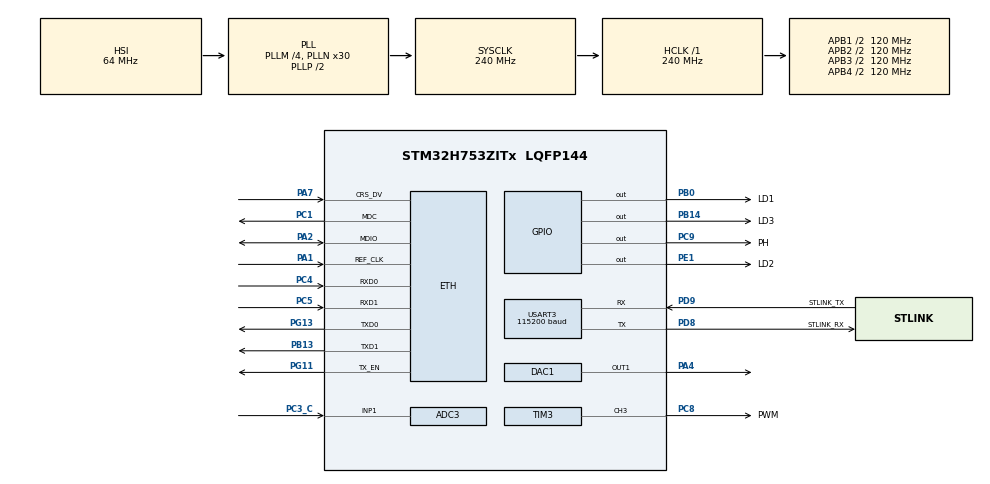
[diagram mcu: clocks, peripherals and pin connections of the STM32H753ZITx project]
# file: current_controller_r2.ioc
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ADC3.Channel-0\#ChannelRegularConversion=ADC_CHANNEL_1
ADC3.ContinuousConvMode=DISABLE
ADC3.EOCSelection=ADC_EOC_SEQ_CONV
ADC3.ExternalTrigConv=ADC_EXTERNALTRIG_T3_TRGO
ADC3.NbrOfConversion=1
ADC3.NbrOfConversionFlag=1
ADC3.OffsetNumber-0\#ChannelRegularConversion=ADC_OFFSET_NONE
ADC3.OffsetSignedSaturation-0\#ChannelRegularConversion=DISABLE
ADC3.OversamplingMode=ENABLE
ADC3.Rank-0\#ChannelRegularConversion=1
ADC3.Ratio=256
ADC3.RightBitShift=ADC_RIGHTBITSHIFT_8
ADC3.SamplingTime-0\#ChannelRegularConversion=ADC_SAMPLETIME_1CYCLE_5
CORTEX_M7.AccessPermission_S-Cortex_Memory_Protection_Unit_Region1_Settings_S=MPU_REGION_FULL_ACCESS
CORTEX_M7.AccessPermission_S-Cortex_Memory_Protection_Unit_Region2_Settings_S=MPU_REGION_FULL_ACCESS
CORTEX_M7.AccessPermission_Spec=MPU_REGION_NO_ACCESS
CORTEX_M7.BaseAddress_S-Cortex_Memory_Protection_Unit_Region1_Settings_S=0x30020000
CORTEX_M7.BaseAddress_S-Cortex_Memory_Protection_Unit_Region2_Settings_S=0x30040000
CORTEX_M7.BaseAddress_Spec=0x0
CORTEX_M7.CPU_DCache=Enabled
CORTEX_M7.CPU_ICache=Enabled
CORTEX_M7.DisableExec_S-Cortex_Memory_Protection_Unit_Region1_Settings_S=MPU_INSTRUCTION_ACCESS_DISABLE
CORTEX_M7.DisableExec_S-Cortex_Memory_Protection_Unit_Region2_Settings_S=MPU_INSTRUCTION_ACCESS_DISABLE
CORTEX_M7.DisableExec_Spec=MPU_INSTRUCTION_ACCESS_DISABLE
CORTEX_M7.Enable_S-Cortex_Memory_Protection_Unit_Region10_Settings_S=__NULL
CORTEX_M7.Enable_S-Cortex_Memory_Protection_Unit_Region11_Settings_S=__NULL
CORTEX_M7.Enable_S-Cortex_Memory_Protection_Unit_Region12_Settings_S=__NULL
CORTEX_M7.Enable_S-Cortex_Memory_Protection_Unit_Region13_Settings_S=__NULL
CORTEX_M7.Enable_S-Cortex_Memory_Protection_Unit_Region14_Settings_S=__NULL
CORTEX_M7.Enable_S-Cortex_Memory_Protection_Unit_Region15_Settings_S=__NULL
CORTEX_M7.Enable_S-Cortex_Memory_Protection_Unit_Region1_Settings_S=MPU_REGION_ENABLE
CORTEX_M7.Enable_S-Cortex_Memory_Protection_Unit_Region2_Settings_S=MPU_REGION_ENABLE
CORTEX_M7.Enable_S-Cortex_Memory_Protection_Unit_Region3_Settings_S=__NULL
CORTEX_M7.Enable_S-Cortex_Memory_Protection_Unit_Region4_Settings_S=__NULL
CORTEX_M7.Enable_S-Cortex_Memory_Protection_Unit_Region5_Settings_S=__NULL
CORTEX_M7.Enable_S-Cortex_Memory_Protection_Unit_Region6_Settings_S=__NULL
CORTEX_M7.Enable_S-Cortex_Memory_Protection_Unit_Region7_Settings_S=__NULL
CORTEX_M7.Enable_S-Cortex_Memory_Protection_Unit_Region8_Settings_S=__NULL
CORTEX_M7.Enable_S-Cortex_Memory_Protection_Unit_Region9_Settings_S=__NULL
CORTEX_M7.Enable_Spec=MPU_REGION_ENABLE
CORTEX_M7.IsBufferable_S-Cortex_Memory_Protection_Unit_Region1_Settings_S=MPU_ACCESS_NOT_BUFFERABLE
CORTEX_M7.IsBufferable_S-Cortex_Memory_Protection_Unit_Region2_Settings_S=MPU_ACCESS_BUFFERABLE
CORTEX_M7.IsBufferable_Spec=MPU_ACCESS_NOT_BUFFERABLE
CORTEX_M7.IsCacheable_S-Cortex_Memory_Protection_Unit_Region1_Settings_S=MPU_ACCESS_NOT_CACHEABLE
CORTEX_M7.IsCacheable_S-Cortex_Memory_Protection_Unit_Region2_Settings_S=MPU_ACCESS_NOT_CACHEABLE
CORTEX_M7.IsCacheable_Spec=MPU_ACCESS_NOT_CACHEABLE
CORTEX_M7.IsShareable_S-Cortex_Memory_Protection_Unit_Region1_Settings_S=MPU_ACCESS_NOT_SHAREABLE
CORTEX_M7.IsShareable_S-Cortex_Memory_Protection_Unit_Region2_Settings_S=MPU_ACCESS_SHAREABLE
CORTEX_M7.IsShareable_Spec=MPU_ACCESS_SHAREABLE
CORTEX_M7.MPU_Control=MPU_PRIVILEGED_DEFAULT
CORTEX_M7.Size_S-Cortex_Memory_Protection_Unit_Region1_Settings_S=MPU_REGION_SIZE_128KB
CORTEX_M7.Size_S-Cortex_Memory_Protection_Unit_Region2_Settings_S=MPU_REGION_SIZE_512B
CORTEX_M7.Size_Spec=MPU_REGION_SIZE_4GB
CORTEX_M7.SubRegionDisable_S-Cortex_Memory_Protection_Unit_Region1_Settings_S=0x0
CORTEX_M7.SubRegionDisable_S-Cortex_Memory_Protection_Unit_Region2_Settings_S=0x0
CORTEX_M7.SubRegionDisable_Spec=0x87
CORTEX_M7.TypeExtField_S-Cortex_Memory_Protection_Unit_Region1_Settings_S=MPU_TEX_LEVEL1
CORTEX_M7.TypeExtField_S-Cortex_Memory_Protection_Unit_Region2_Settings_S=MPU_TEX_LEVEL0
CORTEX_M7.TypeExtField_Spec=MPU_TEX_LEVEL0
CORTEX_M7.default_mode_Activation=1
DAC1.DAC_Channel-DAC_OUT1=DAC_CHANNEL_1
ETH.ETH_RX_DESC_CNT=4
ETH.ETH_TX_DESC_CNT=4
ETH.MACAddr=00\:80\:E1\:00\:00\:00
ETH.MediaInterface=HAL_ETH_RMII_MODE
ETH.RxBuffLen=1536
ETH.RxBufferAddress=0x30040200
ETH.RxDescAddress=0x30040000
ETH.TxDescAddress=0x30040060
LWIP.API_LIB_DEBUG=LWIP_DBG_OFF
LWIP.API_MSG_DEBUG=LWIP_DBG_OFF
LWIP.ARP_MAXAGE=300
LWIP.ARP_QUEUEING=0
LWIP.ARP_QUEUE_LEN=3
LWIP.ARP_TABLE_SIZE=10
LWIP.AUTOIP_DEBUG=LWIP_DBG_OFF
LWIP.BSP.number=1
LWIP.CBCP_SUPPORT=0
LWIP.CCP_SUPPORT=0
LWIP.CHAP_DEFTIMEOUT=6
LWIP.CHAP_DEFTRANSMITS=10
LWIP.CHAP_SUPPORT=0
LWIP.CHECKSUM_BY_HARDWARE=1
LWIP.CHECKSUM_CHECK_ICMP=1
LWIP.CHECKSUM_CHECK_ICMP6=0
LWIP.CHECKSUM_CHECK_IP=0
LWIP.CHECKSUM_CHECK_TCP=0
LWIP.CHECKSUM_CHECK_UDP=0
LWIP.CHECKSUM_GEN_ICMP=1
LWIP.CHECKSUM_GEN_ICMP6=0
LWIP.CHECKSUM_GEN_IP=0
LWIP.CHECKSUM_GEN_TCP=0
LWIP.CHECKSUM_GEN_UDP=0
LWIP.CMSIS_VERSION-Enabled=1
LWIP.DEFAULT_ACCEPTMBOX_SIZE=6
LWIP.DEFAULT_RAW_RECVMBOX_SIZE=0
LWIP.DEFAULT_TCP_RECVMBOX_SIZE=6
LWIP.DEFAULT_THREAD_NAME="lwIP"
LWIP.DEFAULT_THREAD_PRIO=3
LWIP.DEFAULT_THREAD_STACKSIZE=1024
LWIP.DEFAULT_UDP_RECVMBOX_SIZE=6
LWIP.DEMAND_SUPPORT=0
LWIP.DHCP6_DEBUG=LWIP_DBG_OFF
LWIP.DHCP_DEBUG=LWIP_DBG_OFF
LWIP.DHCP_DOES_ARP_CHECK=1
LWIP.DNS_DEBUG=LWIP_DBG_OFF
LWIP.DNS_DOES_NAME_CHECK=1
LWIP.DNS_LOCAL_HOSTLIST=0
LWIP.DNS_LOCAL_HOSTLIST_IS_DYNAMIC=0
LWIP.DNS_MAX_NAME_LENGTH=256
LWIP.DNS_MAX_RETRIES=4
LWIP.DNS_MAX_SERVERS=2
LWIP.DNS_TABLE_SIZE=4
LWIP.EAP_DEFALLOWREQ=10
LWIP.EAP_DEFREQTIME=6
LWIP.EAP_SUPPORT=0
LWIP.ECP_SUPPORT=0
LWIP.ETHARP_DEBUG=LWIP_DBG_OFF
LWIP.ETHARP_STATS=0
LWIP.ETHARP_SUPPORT_STATIC_ENTRIES=0
LWIP.ETHARP_SUPPORT_VLAN=0
LWIP.ETHARP_TABLE_MATCH_NETIF=1
LWIP.ETH_PAD_SIZE=0
LWIP.ETH_RX_BUFFER_CNT=10
LWIP.FSM_DEFMAXCONFREQS=10
LWIP.FSM_DEFMAXNAKLOOPS=5
LWIP.FSM_DEFMAXTERMREQS=2
LWIP.FSM_DEFTIMEOUT=6
LWIP.HTTPD_DEBUG=LWIP_DBG_OFF
LWIP.HTTPD_DEBUG_TIMING=LWIP_DBG_OFF
LWIP.ICMP6_STATS=0
LWIP.ICMP_DEBUG=LWIP_DBG_OFF
LWIP.ICMP_STATS=0
LWIP.ICMP_TTL=255
LWIP.IGMP_DEBUG=LWIP_DBG_OFF
LWIP.IGMP_STATS=0
LWIP.INET_DEBUG=LWIP_DBG_OFF
LWIP.IP6_DEBUG=LWIP_DBG_OFF
LWIP.IP6_FRAG_STATS=0
LWIP.IP6_STATS=0
LWIP.IPFRAG_STATS=0
LWIP.IPV6_REASS_MAXAGE=60
LWIP.IP_ADDRESS=010.022.247.108
LWIP.IP_DEBUG=LWIP_DBG_OFF
LWIP.IP_DEFAULT_TTL=255
LWIP.IP_FORWARD=0
LWIP.IP_FORWARD_ALLOW_TX_ON_RX_NETIF=0
LWIP.IP_FRAG=1
LWIP.IP_OPTIONS_ALLOWED=1
LWIP.IP_REASSEMBLY=1
LWIP.IP_REASS_DEBUG=LWIP_DBG_OFF
LWIP.IP_REASS_MAXAGE=15
LWIP.IP_REASS_MAX_PBUFS=10
LWIP.IP_SOF_BROADCAST=0
LWIP.IP_SOF_BROADCAST_RECV=0
LWIP.IP_STATS=0
LWIP.LCP_DEFLOOPBACKFAIL=10
LWIP.LCP_ECHOINTERVAL=0
LWIP.LCP_MAXECHOFAILS=3
LWIP.LINK_STATS=0
LWIP.LQR_SUPPORT=0
LWIP.LWIP_ALLOW_MEM_FREE_FROM_OTHER_CONTEXT=0
LWIP.LWIP_ALTCP=0
LWIP.LWIP_ALTCP_TLS=0
LWIP.LWIP_ARP=1
LWIP.LWIP_AUTOIP=0
LWIP.LWIP_BROADCAST_PING=0
LWIP.LWIP_CALLBACK_API=1
LWIP.LWIP_CHECKSUM_CTRL_PER_NETIF=0
LWIP.LWIP_CHECKSUM_ON_COPY=0
LWIP.LWIP_COMPAT_SOCKETS=1
LWIP.LWIP_DBG_MIN_LEVEL=LWIP_DBG_LEVEL_ALL
LWIP.LWIP_DBG_TYPES_ON=LWIP_DBG_ON
LWIP.LWIP_DHCP=1
LWIP.LWIP_DHCP6_GET_NTP_SRV=0
LWIP.LWIP_DHCP6_MAX_DNS_SERVERS=2
LWIP.LWIP_DHCP6_MAX_NTP_SERVERS=1
LWIP.LWIP_DHCP_AUTOIP_COOP=0
LWIP.LWIP_DHCP_AUTOIP_COOP_TRIES=9
LWIP.LWIP_DHCP_BOOTP_FILE=0
LWIP.LWIP_DHCP_GET_NTP_SRV=0
LWIP.LWIP_DHCP_MAX_DNS_SERVERS=2
LWIP.LWIP_DHCP_MAX_NTP_SERVERS=1
LWIP.LWIP_DISABLE_MEMP_SANITY_CHECKS=0
LWIP.LWIP_DISABLE_TCP_SANITY_CHECKS=0
LWIP.LWIP_DNS=0
LWIP.LWIP_DNS_SECURE=7
LWIP.LWIP_DNS_SUPPORT_MDNS_QUERIES=0
LWIP.LWIP_ETHERNET=1
LWIP.LWIP_EVENT_API=0
LWIP.LWIP_HAVE_LOOPIF=0
LWIP.LWIP_HTTPD=0
LWIP.LWIP_ICMP=1
LWIP.LWIP_ICMP6=0
LWIP.LWIP_ICMP6_DATASIZE=8
LWIP.LWIP_ICMP6_HL=255
LWIP.LWIP_IGMP=0
LWIP.LWIP_INCLUDED_POLARSSL_ARC4=0
LWIP.LWIP_INCLUDED_POLARSSL_DES=0
LWIP.LWIP_INCLUDED_POLARSSL_MD4=0
LWIP.LWIP_INCLUDED_POLARSSL_MD5=0
LWIP.LWIP_INCLUDED_POLARSSL_SHA1=0
LWIP.LWIP_IPV4=1
LWIP.LWIP_IPV6=0
LWIP.LWIP_IPV6_ADDRESS_LIFETIMES=0
LWIP.LWIP_IPV6_AUTOCONFIG=0
LWIP.LWIP_IPV6_DHCP6=0
LWIP.LWIP_IPV6_DHCP6_STATEFUL=0
LWIP.LWIP_IPV6_DHCP6_STATELESS=0
LWIP.LWIP_IPV6_DUP_DETECT_ATTEMPTS=1
LWIP.LWIP_IPV6_FORWARD=0
LWIP.LWIP_IPV6_FRAG=1
LWIP.LWIP_IPV6_MLD=0
LWIP.LWIP_IPV6_NUM_ADDRESSES=3
LWIP.LWIP_IPV6_REASS=0
LWIP.LWIP_IPV6_SCOPES=0
LWIP.LWIP_IPV6_SCOPES_DEBUG=0
LWIP.LWIP_IPV6_SEND_ROUTER_SOLICIT=1
LWIP.LWIP_LOOPBACK_MAX_PBUFS=0
LWIP.LWIP_LOOPIF_MULTICAST=0
LWIP.LWIP_MDNS=0
LWIP.LWIP_MIB2_CALLBACKS=0
LWIP.LWIP_MPU_COMPATIBLE=0
LWIP.LWIP_MULTICAST_PING=0
LWIP.LWIP_MULTICAST_TX_OPTIONS=0
LWIP.LWIP_ND6_ALLOW_RA_UPDATES=1
LWIP.LWIP_ND6_DELAY_FIRST_PROBE_TIME=5000
LWIP.LWIP_ND6_MAX_ANYCAST_DELAY_TIME=1000
LWIP.LWIP_ND6_MAX_MULTICAST_SOLICIT=3
LWIP.LWIP_ND6_MAX_NEIGHBOR_ADVERTISEMENT=3
LWIP.LWIP_ND6_MAX_UNICAST_SOLICIT=3
LWIP.LWIP_ND6_NUM_DESTINATIONS=10
LWIP.LWIP_ND6_NUM_NEIGHBORS=10
LWIP.LWIP_ND6_NUM_PREFIXES=5
LWIP.LWIP_ND6_NUM_ROUTERS=3
LWIP.LWIP_ND6_QUEUEING=0
LWIP.LWIP_ND6_RDNSS_MAX_DNS_SERVERS=0
LWIP.LWIP_ND6_REACHABLE_TIME=30000
LWIP.LWIP_ND6_RETRANS_TIMER=1000
LWIP.LWIP_ND6_TCP_REACHABILITY_HINTS=1
LWIP.LWIP_NETBUF_RECVINFO=0
LWIP.LWIP_NETIF_API=0
LWIP.LWIP_NETIF_EXT_STATUS_CALLBACK=0
LWIP.LWIP_NETIF_HOSTNAME=0
LWIP.LWIP_NETIF_HWADDRHINT=0
LWIP.LWIP_NETIF_LINK_CALLBACK=1
LWIP.LWIP_NETIF_LOOPBACK=1
LWIP.LWIP_NETIF_LOOPBACK_MULTITHREADING=0
LWIP.LWIP_NETIF_REMOVE_CALLBACK=0
LWIP.LWIP_NETIF_STATUS_CALLBACK=0
LWIP.LWIP_NETIF_TX_SINGLE_PBUF=0
LWIP.LWIP_NUM_NETIF_CLIENT_DATA=0
LWIP.LWIP_PBUF_REF_T=u8_t
LWIP.LWIP_PERF=0
LWIP.LWIP_PPP_API=0
LWIP.LWIP_RAM_HEAP_POINTER=0x30020000
LWIP.LWIP_RAW=0
LWIP.LWIP_SINGLE_NETIF=0
LWIP.LWIP_SMTP=0
LWIP.LWIP_SNMP=0
LWIP.LWIP_SNMP_CONFIGURE_VERSIONS=0
LWIP.LWIP_SNMP_V3=0
LWIP.LWIP_SNMP_V3_CRYPTO=0
LWIP.LWIP_SNMP_V3_MBEDTLS=0
LWIP.LWIP_SNTP=0
LWIP.LWIP_SOCKET=0
LWIP.LWIP_SOCKET_OFFSET=0
LWIP.LWIP_STATS=0
LWIP.LWIP_STATS_DISPLAY=0
LWIP.LWIP_SUPPORT_CUSTOM_PBUF=1
LWIP.LWIP_TCP=1
LWIP.LWIP_TCPIP_CORE_LOCKING=0
LWIP.LWIP_TCPIP_CORE_LOCKING_INPUT=0
LWIP.LWIP_TCP_CLOSE_TIMEOUT_MS_DEFAULT=20000
LWIP.LWIP_TCP_MAX_SACK_NUM=4
LWIP.LWIP_TCP_PCB_NUM_EXT_ARGS=0
LWIP.LWIP_TCP_SACK_OUT=0
LWIP.LWIP_TCP_TIMESTAMPS=0
LWIP.LWIP_TESTMODE=0
LWIP.LWIP_TFTP=0
LWIP.LWIP_TIMERS=1
LWIP.LWIP_TIMERS_CUSTOM=0
LWIP.LWIP_UDP=1
LWIP.LWIP_UDPLITE=0
LWIP.LWIP_USE_EXTERNAL_MBEDTLS=0
LWIP.LWIP_USE_EXTERNAL_POLARSSL=0
LWIP.LWIP_WND_SCALE=0
LWIP.MAXNAMELEN=256
LWIP.MAXSECRETLEN=256
LWIP.MDNS_DEBUG=LWIP_DBG_OFF
LWIP.MEMP_DEBUG=LWIP_DBG_OFF
LWIP.MEMP_MEM_INIT=0
LWIP.MEMP_MEM_MALLOC=0
LWIP.MEMP_NUM_API_MSG=8
LWIP.MEMP_NUM_ARP_QUEUE=30
LWIP.MEMP_NUM_DNS_API_MSG=8
LWIP.MEMP_NUM_FRAG_PBUF=15
LWIP.MEMP_NUM_IGMP_GROUP=8
LWIP.MEMP_NUM_LOCALHOSTLIST=1
LWIP.MEMP_NUM_MLD6_GROUP=4
LWIP.MEMP_NUM_ND6_QUEUE=20
LWIP.MEMP_NUM_NETBUF=2
LWIP.MEMP_NUM_NETCONN=4
LWIP.MEMP_NUM_NETDB=1
LWIP.MEMP_NUM_NETIFAPI_MSG=8
LWIP.MEMP_NUM_PBUF=16
LWIP.MEMP_NUM_PPPOE_INTERFACES=1
LWIP.MEMP_NUM_PPPOL2TP_INTERFACES=1
LWIP.MEMP_NUM_PPPOS_INTERFACES=1
LWIP.MEMP_NUM_PPP_API_MSG=5
LWIP.MEMP_NUM_PPP_PCB=1
LWIP.MEMP_NUM_RAW_PCB=4
LWIP.MEMP_NUM_REASSDATA=5
LWIP.MEMP_NUM_SELECT_CB=4
LWIP.MEMP_NUM_SOCKET_SETGETSOCKOPT_DATA=8
LWIP.MEMP_NUM_SYS_TIMEOUT=5
LWIP.MEMP_NUM_TCPIP_MSG_API=8
LWIP.MEMP_NUM_TCPIP_MSG_INPKT=8
LWIP.MEMP_NUM_TCP_PCB=5
LWIP.MEMP_NUM_TCP_PCB_LISTEN=8
LWIP.MEMP_NUM_TCP_SEG=16
LWIP.MEMP_NUM_UDP_PCB=4
LWIP.MEMP_OVERFLOW_CHECK=0
LWIP.MEMP_SANITY_CHECK=0
LWIP.MEMP_STATS=0
LWIP.MEMP_USE_CUSTOM_POOLS=0
LWIP.MEM_ALIGNMENT=4
LWIP.MEM_DEBUG=LWIP_DBG_OFF
LWIP.MEM_LIBC_MALLOC=0
LWIP.MEM_OVERFLOW_CHECK=0
LWIP.MEM_SANITY_CHECK=0
LWIP.MEM_SIZE=16360
LWIP.MEM_STATS=0
LWIP.MEM_USE_POOLS=0
LWIP.MEM_USE_POOLS_TRY_BIGGER_POOL=0
LWIP.MIB2_STATS=0
LWIP.MLD6_STATS=0
LWIP.MPPE_SUPPORT=0
LWIP.MSCHAP_SUPPORT=0
LWIP.ND6_STATS=0
LWIP.NETIF_DEBUG=LWIP_DBG_OFF
LWIP.NETMASK_ADDRESS=255.255.255.000
LWIP.NO_SYS=1
LWIP.PAP_SUPPORT=0
LWIP.PBUF_DEBUG=LWIP_DBG_OFF
LWIP.PBUF_LINK_ENCAPSULATION_HLEN=0
LWIP.PBUF_LINK_HLEN=14
LWIP.PBUF_POOL_BUFSIZE=592
LWIP.PBUF_POOL_SIZE=16
LWIP.PPPOE_SUPPORT=0
LWIP.PPPOL2TP_AUTH_SUPPORT=0
LWIP.PPPOL2TP_SUPPORT=0
LWIP.PPPOS_SUPPORT=0
LWIP.PPP_DEBUG=LWIP_DBG_OFF
LWIP.PPP_DEFMRU=1500
LWIP.PPP_FCS_TABLE=1
LWIP.PPP_INPROC_IRQ_SAFE=0
LWIP.PPP_IPV4_SUPPORT=1
LWIP.PPP_IPV6_SUPPORT=0
LWIP.PPP_MAXIDLEFLAG=100
LWIP.PPP_MAXMRU=1500
LWIP.PPP_MD5_RANDM=0
LWIP.PPP_MINMRU=128
LWIP.PPP_MRU=1500
LWIP.PPP_NOTIFY_PHASE=0
LWIP.PPP_NUM_TIMEOUTS=0
LWIP.PPP_NUM_TIMEOUTS_PER_PCB=2
LWIP.PPP_SERVER=0
LWIP.PPP_SUPPORT=0
LWIP.PPP_USE_PBUF_RAM=0
LWIP.PRINTPKT_SUPPORT=0
LWIP.RAW_DEBUG=LWIP_DBG_OFF
LWIP.RAW_TTL=255
LWIP.RECV_BUFSIZE_DEFAULT=2000000000
LWIP.SLIPIF_THREAD_NAME="slipif_loop"
LWIP.SLIPIF_THREAD_PRIO=3
LWIP.SLIPIF_THREAD_STACKSIZE=1024
LWIP.SLIP_DEBUG=LWIP_DBG_OFF
LWIP.SMTP_DEBUG=LWIP_DBG_OFF
LWIP.SNMP_DEBUG=LWIP_DBG_OFF
LWIP.SNMP_LWIP_MIB2=0
LWIP.SNMP_MIB_DEBUG=LWIP_DBG_OFF
LWIP.SNMP_USE_NETCONN=0
LWIP.SNMP_USE_RAW=1
LWIP.SNTP_DEBUG=LWIP_DBG_OFF
LWIP.SOCKETS_DEBUG=LWIP_DBG_OFF
LWIP.SYS_DEBUG=LWIP_DBG_OFF
LWIP.SYS_LIGHTWEIGHT_PROT=0
LWIP.SYS_STATS=0
LWIP.TCPIP_DEBUG=LWIP_DBG_OFF
LWIP.TCPIP_MBOX_SIZE=6
LWIP.TCPIP_THREAD_NAME="tcpip_thread"
LWIP.TCPIP_THREAD_PRIO=24
LWIP.TCPIP_THREAD_STACKSIZE=1024
LWIP.TCP_CALCULATE_EFF_SEND_MSS=1
LWIP.TCP_CWND_DEBUG=LWIP_DBG_OFF
LWIP.TCP_DEBUG=LWIP_DBG_OFF
LWIP.TCP_DEFAULT_LISTEN_BACKLOG=255
LWIP.TCP_FR_DEBUG=LWIP_DBG_OFF
LWIP.TCP_INPUT_DEBUG=LWIP_DBG_OFF
LWIP.TCP_LISTEN_BACKLOG=0
LWIP.TCP_MAXRTX=12
LWIP.TCP_MSS=536
LWIP.TCP_OOSEQ_BYTES_LIMIT(pcb)=0
LWIP.TCP_OOSEQ_MAX_BYTES=0
LWIP.TCP_OOSEQ_MAX_PBUFS=0
LWIP.TCP_OOSEQ_PBUFS_LIMIT(pcb)=0
LWIP.TCP_OUTPUT_DEBUG=LWIP_DBG_OFF
LWIP.TCP_OVERSIZE=TCP_MSS
LWIP.TCP_QLEN_DEBUG=LWIP_DBG_OFF
LWIP.TCP_QUEUE_OOSEQ=1
LWIP.TCP_RCV_SCALE=0
LWIP.TCP_RST_DEBUG=LWIP_DBG_OFF
LWIP.TCP_RTO_DEBUG=LWIP_DBG_OFF
LWIP.TCP_SNDLOWAT=1071
LWIP.TCP_SNDQUEUELOWAT=5
LWIP.TCP_SND_BUF=1072
LWIP.TCP_SND_QUEUELEN=9
LWIP.TCP_STATS=0
LWIP.TCP_SYNMAXRTX=6
LWIP.TCP_TTL=255
LWIP.TCP_WND=2144
LWIP.TCP_WND_DEBUG=LWIP_DBG_OFF
LWIP.TCP_WND_UPDATE_THRESHOLD=536
LWIP.TFTP_DEBUG=LWIP_DBG_OFF
LWIP.TIMERS_DEBUG=LWIP_DBG_OFF
LWIP.UDP_DEBUG=LWIP_DBG_OFF
LWIP.UDP_STATS=0
LWIP.UDP_TTL=255
LWIP.UPAP_DEFREQTIME=30
LWIP.UPAP_DEFTIMEOUT=6
LWIP.UPAP_DEFTRANSMITS=10
LWIP.VJ_SUPPORT=0
LWIP.Version=v2.1.2_Cube
LWIP0.BSP.STBoard=false
LWIP0.BSP.api=BSP_COMPONENT_DRIVER
LWIP0.BSP.component=LAN8742
LWIP0.BSP.instance=LAN8742
LWIP0.BSP.name=Driver_PHY
LWIP0.BSP.semaphore=S_LAN8742
LWIP0.BSP.solution=LAN8742
Mcu.Family=STM32H7
Mcu.Name=STM32H753ZITx
Mcu.Package=LQFP144
NVIC.ADC3_IRQn=true\:7\:0\:true\:false\:true\:true\:true\:true
NVIC.ETH_IRQn=true\:6\:0\:true\:false\:true\:true\:true\:true
NVIC.PriorityGroup=NVIC_PRIORITYGROUP_4
NVIC.TIM2_IRQn=true\:10\:0\:true\:false\:true\:true\:true\:true
NVIC.TIM3_IRQn=true\:0\:0\:false\:false\:true\:true\:true\:true
NVIC.TIM6_DAC_IRQn=true\:15\:0\:false\:false\:true\:false\:true\:true
NVIC.TimeBase=TIM6_DAC_IRQn
NVIC.TimeBaseIP=TIM6
PA1.GPIO_Speed_Default_HIGH=GPIO_SPEED_FREQ_VERY_HIGH
PA1.Mode=RMII
PA1.Signal=ETH_REF_CLK
PA2.GPIO_Speed_Default_HIGH=GPIO_SPEED_FREQ_VERY_HIGH
PA2.Mode=RMII
PA2.Signal=ETH_MDIO
PA4.Signal=COMP_DAC11_group
PA7.GPIO_Speed_Default_HIGH=GPIO_SPEED_FREQ_VERY_HIGH
PA7.Mode=RMII
PA7.Signal=ETH_CRS_DV
PB0.GPIO_Label=LD1
PB0.Signal=GPIO_Output
PB1.Signal=S_TIM3_CH4
PB13.GPIO_Speed_Default_HIGH=GPIO_SPEED_FREQ_VERY_HIGH
PB13.Mode=RMII
PB13.Signal=ETH_TXD1
PB14.GPIO_Label=LD3
PB14.Signal=GPIO_Output
PB5.GPIO_Speed=GPIO_SPEED_FREQ_LOW
PB5.Signal=SPI1_MOSI
PC1.GPIO_Speed_Default_HIGH=GPIO_SPEED_FREQ_VERY_HIGH
PC1.Mode=RMII
PC1.Signal=ETH_MDC
PC14-OSC32_IN\ (OSC32_IN).Signal=RCC_OSC32_IN
PC15-OSC32_OUT\ (OSC32_OUT).Signal=RCC_OSC32_OUT
PC3_C.Mode=IN1-Single-Ended
PC3_C.Signal=ADC3_INP1
PC4.GPIO_Speed_Default_HIGH=GPIO_SPEED_FREQ_VERY_HIGH
PC4.Mode=RMII
PC4.Signal=ETH_RXD0
PC5.GPIO_Speed_Default_HIGH=GPIO_SPEED_FREQ_VERY_HIGH
PC5.Mode=RMII
PC5.Signal=ETH_RXD1
PC8.GPIO_Label=PWM
PC8.GPIO_Speed=GPIO_SPEED_FREQ_HIGH
PC8.Signal=S_TIM3_CH3
PC9.GPIO_Label=PH
PC9.GPIO_Speed=GPIO_SPEED_FREQ_MEDIUM
PC9.PinState=GPIO_PIN_RESET
PC9.Signal=GPIO_Output
PD8.GPIO_Label=STLINK_RX
PD8.Mode=Asynchronous
PD8.Signal=USART3_TX
PD9.GPIO_Label=STLINK_TX
PD9.Mode=Asynchronous
PD9.Signal=USART3_RX
PE1.GPIO_Label=LD2
PE1.Signal=GPIO_Output
PG11.GPIO_Speed_Default_HIGH=GPIO_SPEED_FREQ_VERY_HIGH
PG11.Mode=RMII
PG11.Signal=ETH_TX_EN
PG13.GPIO_Speed_Default_HIGH=GPIO_SPEED_FREQ_VERY_HIGH
PG13.Mode=RMII
PG13.Signal=ETH_TXD0
PH0-OSC_IN\ (PH0).Mode=HSE-External-Clock-Source
PH0-OSC_IN\ (PH0).Signal=RCC_OSC_IN
PH1-OSC_OUT\ (PH1).Signal=RCC_OSC_OUT
ProjectManager.HeapSize=0x400
ProjectManager.StackSize=0x2000
ProjectManager.TargetToolchain=STM32CubeIDE
RCC.ADCCLockSelection=RCC_ADCCLKSOURCE_PLL3
RCC.ADCFreq_Value=99200000
RCC.APB1Freq_Value=120000000
RCC.APB2Freq_Value=120000000
RCC.APB3Freq_Value=120000000
RCC.APB4Freq_Value=120000000
RCC.CortexFreq_Value=240000000
RCC.D1PPRE=RCC_APB3_DIV2
RCC.D2PPRE1=RCC_APB1_DIV2
RCC.D2PPRE2=RCC_APB2_DIV2
RCC.D3PPRE=RCC_APB4_DIV2
RCC.DIVM1=4
RCC.DIVM2=4
RCC.DIVM3=4
RCC.DIVN1=30
RCC.DIVN2=30
RCC.DIVN3=31
RCC.DIVP3=5
RCC.DIVQ1=4
RCC.DIVQ2=4
RCC.DIVQ3=4
RCC.DIVR3=5
RCC.FLatency=FLASH_LATENCY_4
RCC.HCLKFreq_Value=240000000
RCC.PLLFRACN=0
RCC.PWR_Regulator_Voltage_Scale=PWR_REGULATOR_VOLTAGE_SCALE0
RCC.SYSCLKFreq_VALUE=240000000
RCC.SYSCLKSource=RCC_SYSCLKSOURCE_PLLCLK
RCC.Spi45ClockSelection=RCC_SPI45CLKSOURCE_PLL2
RCC.USBFreq_Value=120000000
SH.COMP_DAC11_group.0=DAC1_OUT1,DAC_OUT1
SH.S_TIM3_CH3.0=TIM3_CH3,PWM Generation3 CH3
SH.S_TIM3_CH4.0=TIM3_CH4
TIM2.Period=240000-1
TIM3.AutoReloadPreload=TIM_AUTORELOAD_PRELOAD_ENABLE
TIM3.Channel-PWM\ Generation3\ CH3=TIM_CHANNEL_3
TIM3.Period=16384-1
TIM3.Pulse-PWM\ Generation3\ CH3=0
TIM3.TIM_MasterOutputTrigger=TIM_TRGO_UPDATE
USART3.AutoBaudRateEnableParam=UART_ADVFEATURE_AUTOBAUDRATE_DISABLE
USART3.BaudRate=115200
USART3.ClockPrescaler=PRESCALER_DIV1
USART3.DMADisableonRxErrorParam=ADVFEATURE_DMA_ENABLEONRXERROR
USART3.DataInvertParam=ADVFEATURE_DATAINV_DISABLE
USART3.FIFOMode=FIFOMODE_DISABLE
USART3.MSBFirstParam=ADVFEATURE_MSBFIRST_DISABLE
USART3.Mode=MODE_TX_RX
USART3.OneBitSampling=UART_ONE_BIT_SAMPLE_DISABLE
USART3.OverSampling=UART_OVERSAMPLING_16
USART3.OverrunDisableParam=ADVFEATURE_OVERRUN_ENABLE
USART3.Parity=PARITY_NONE
USART3.RXFIFOThreshold=RXFIFO_THRESHOLD_1EIGHTHFULL
USART3.RxPinLevelInvertParam=ADVFEATURE_RXINV_DISABLE
USART3.StopBits=STOPBITS_1
USART3.SwapParam=ADVFEATURE_SWAP_DISABLE
USART3.TXFIFOThreshold=TXFIFO_THRESHOLD_1EIGHTHFULL
USART3.TxPinLevelInvertParam=ADVFEATURE_TXINV_DISABLE
USART3.VirtualMode-Asynchronous=VM_ASYNC
USART3.WordLength=WORDLENGTH_8B
VP_LWIP_VS_Enabled.Mode=Enabled
VP_MEMORYMAP_VS_MEMORYMAP.Mode=CurAppReg
VP_SYS_VS_tim6.Mode=TIM6
VP_TIM2_VS_ClockSourceINT.Mode=Internal
board=NUCLEO-H753ZI

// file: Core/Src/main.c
/* USER CODE BEGIN Header */
/**
  ******************************************************************************
  * @file           : main.c
  * @brief          : Main program body
  ******************************************************************************
  * @attention
  *
  * Copyright (c) 2026 STMicroelectronics.
  * All rights reserved.
  *
  * This software is licensed under terms that can be found in the LICENSE file
  * in the root directory of this software component.
  * If no LICENSE file comes with this software, it is provided AS-IS.
  *
  ******************************************************************************
  */
/* USER CODE END Header */
#include "main.h"
#include "lwip.h"

/* USER CODE BEGIN Includes */
#include <math.h>
#include <string.h>
#include "print_uart3.h"

/* USER CODE END Includes */

/* USER CODE BEGIN PD */
#define CMD_LIMIT 7500 // maximum output command
#define UDP_BUFFER_SIZE 510 //bytes--largest value < 512 that is divisible by 3
#define CMD_BUFFER_SIZE_WORDS 10
#define CMD_BUFFER_SIZE_BYTES (CMD_BUFFER_SIZE_WORDS*3)
#define NUM_CHANNELS 8 // only interested in one value, but keeping the external protocol unchanged for this board
#define COM_VERSION 0
#define UDP_LENGTH 35
#define UDP_EOM 0xdead
#define TESTING
/* USER CODE END PD */

DAC_HandleTypeDef hdac1;

TIM_HandleTypeDef htim2;

UART_HandleTypeDef huart3;

/* USER CODE BEGIN PV */
volatile int16_t v_sense;
int16_t v_ref = 0; // incoming reference voltage over UDP

volatile uint8_t ADC_ready = 0; // flag for incoming data
uint8_t cmds_received = 0; // flag for received control reference data

uint8_t cmd_buffer[CMD_BUFFER_SIZE_BYTES] = {0}; // container for the incoming commands
uint16_t cmds[NUM_CHANNELS] = {0};

extern struct netif gnetif;

/* Reference (command) Variables */
typedef struct cmd_frame{
	uint8_t address;  // actuator index
	int16_t value;		// 16 bit current reference value
}cmd_frame_t;

typedef struct command{
    uint8_t version;   // Protocol version
    uint32_t seconds; // Timestamp in seconds since app start
    uint32_t nanoseconds; // Timestamp nanoseconds
    cmd_frame_t frame[NUM_CHANNELS];
    uint16_t end;
} command_t;

/* System Timer variables */
uint32_t sys_time_ms = 0;
uint32_t start = 0;
uint32_t end = 0;

/* controller state variables */
static float e1 = 0.0f, e2 = 0.0f, e3 = 0.0f;
static float u1 = 0.0f, u2 = 0.0f, u3 = 0.0f;

/* controller coefficients
* Type 2 Compensator z=25, p = 500
* b(num)=[ 0.          0.24591215 -0.24327733], a(den)=[ 1.         -1.80656136  0.80656136]
* z = 25, p = 1000, gain = 200
* b = [ 0.          0.44349692 -0.43874598], a=[ 1.         -1.65120413  0.65120413]
*
Double pole at 500 Hz
Discrete-time Controller Transfer Function (ZOH):
Numerator Coefficients: [ 0.          0.02771741 -0.0033421  -0.02386659]
Denominator Coefficients: [ 1.         -2.6139444   2.26514854 -0.65120413]
*
*
* Double pole at 600 Hz
*Discrete-time Controller Transfer Function (ZOH):
Numerator Coefficients: [ 0.          0.03881099 -0.0056318  -0.0324762 ]
Denominator Coefficients: [ 1.         -2.54618083  2.14384962 -0.59766879]
*/

/* denominator coefficients */
//float a1 = -1.80656136;
//float a2 = 0.80656136f;
//float a3 = 0;

//float a1 = -1.65120413;
//float a2 = 0.65120413;

//float a1 = -2.6139444;
//float a2 = 2.26514854;
//float a3 = -0.65120413;

float a1 =-2.54618083;
float a2 = 2.14384962;
float a3 = -0.59766879;

/* numerator coefficients */
//float b0 = 0.0;
//float b1 = 0.24591215;
//float b2 = -0.24327733f;
//float b3 = 0;

//float b0 = 0;
//float b1 = 0.44349692;
//float b2 = -0.43874598;

//float b0 = 0;
//float b1 = 0.02771741;
//float b2 = -0.0033421;
//float b3 = -0.02386659;

float b0 = 0;
float b1 = 0.05821648;
float b2 = -0.0084477;
float b3 = -0.04871431;

/* USER CODE END PV */

void SystemClock_Config(void);
static void MPU_Config(void);
static void MX_GPIO_Init(void);
static void MX_USART3_UART_Init(void);
static void MX_TIM2_Init(void);
static void MX_ADC3_Init(void);
static void MX_TIM3_Init(void);
static void MX_DAC1_Init(void);
/* USER CODE BEGIN PFP */

static void init_controller(void);

void deserialize_command(const uint8_t *buffer, command_t *out_cmd); // parses the byte stream into command

void udp_receive_callback(void *arg, // User argument - udp_recv `arg` parameter
		struct udp_pcb *upcb,   // Receiving Protocol Control Block
		struct pbuf *p,         // Pointer to Datagram
		const ip_addr_t *addr,  // Address of sender
		u16_t port);

uint32_t sys_time(void);

/* USER CODE END PFP */

int main(void)
{

  /* MPU Configuration--------------------------------------------------------*/
  MPU_Config();

  /* Enable the CPU Cache */

  /* Enable I-Cache---------------------------------------------------------*/
  SCB_EnableICache();

  /* Enable D-Cache---------------------------------------------------------*/
  SCB_EnableDCache();

  /* MCU Configuration--------------------------------------------------------*/

  /* Reset of all peripherals, Initializes the Flash interface and the Systick. */
  HAL_Init();

  /* Configure the system clock */
  SystemClock_Config();

  /* Initialize all configured peripherals */
  MX_GPIO_Init();
  MX_LWIP_Init();
  MX_USART3_UART_Init();
  MX_TIM2_Init();
  MX_ADC3_Init();
  MX_TIM3_Init();
  MX_DAC1_Init();
  /* USER CODE BEGIN 2 */

	/* Enable our system timer */
	HAL_TIM_Base_Start_IT(&htim2);

	/* Enable ADC: */
	LL_ADC_Enable(ADC3);
	// Wait for hardware to stabilize
	while (!LL_ADC_IsActiveFlag_ADRDY(ADC3)) {
		;
	}
	LL_ADC_EnableIT_EOC(ADC3);
	LL_ADC_REG_StartConversion(ADC3);

	init_controller(); // reset controller

	/* Enable the timer with interrupts on rollover */
	LL_TIM_EnableIT_UPDATE(TIM3);
	LL_TIM_EnableCounter(TIM3);
	LL_TIM_OC_SetCompareCH3(TIM3, 8192);

	char msg[1024] = { 0 };

	print_uart3("Starting KASM Interface\r\n");

	/*wait for IP address to be assigned. DHCP can take a few seconds*/

	char no_ip[] = "0.0.0.0";

	print_uart3("Waiting for IP address to be assigned\r\n");

	while (strcmp(no_ip, ip4addr_ntoa(netif_ip4_addr(&gnetif))) == 0) {
		MX_LWIP_Process();
	}

	/* Determine IP address */
	sprintf(msg, "IP address: %s\r\n", ip4addr_ntoa(netif_ip4_addr(&gnetif)));
	print_uart3(msg);
	sprintf(msg, "Netmask: %s\r\n", ip4addr_ntoa(netif_ip4_netmask(&gnetif)));
	print_uart3(msg);
	sprintf(msg, "Gateway: %s\r\n", ip4addr_ntoa(netif_ip4_gw(&gnetif)));
	print_uart3(msg);

	u16_t port = 5001; // port to listen from

	struct udp_pcb *my_udp = udp_new();

	udp_bind(my_udp, IP_ADDR_ANY, port);
	udp_recv(my_udp, udp_receive_callback, NULL);
	if (((uint32_t) cmd_buffer & 0xFF000000) != 0x30000000) {
		sprintf(msg, "Buffer not in RAM D2: %lu\r\n",
				(uint32_t) cmd_buffer);
		print_uart3(msg);
	}

  /* USER CODE END 2 */

  /* Infinite loop */
  /* USER CODE BEGIN WHILE */
	int counter = 0;
	while (1) {
		MX_LWIP_Process();
		if (ADC_ready == 1) {
			ADC_ready = 0; // clear the flag
			if(counter%2000 == 0){
				sprintf(msg,"%d\r\n", v_sense);
				print_uart3(msg);
			}
		counter++;

		}
		if(cmds_received == 1){
			v_ref = cmds[0];
			cmds_received = 0;
		}

    /* USER CODE END WHILE */

	}
}

void SystemClock_Config(void)
{
  RCC_OscInitTypeDef RCC_OscInitStruct = {0};
  RCC_ClkInitTypeDef RCC_ClkInitStruct = {0};

  /** Supply configuration update enable
  */
  HAL_PWREx_ConfigSupply(PWR_LDO_SUPPLY);

  /** Configure the main internal regulator output voltage
  */
  __HAL_PWR_VOLTAGESCALING_CONFIG(PWR_REGULATOR_VOLTAGE_SCALE0);

  while(!__HAL_PWR_GET_FLAG(PWR_FLAG_VOSRDY)) {}

  /** Initializes the RCC Oscillators according to the specified parameters
  * in the RCC_OscInitTypeDef structure.
  */
  RCC_OscInitStruct.OscillatorType = RCC_OSCILLATORTYPE_HSI;
  RCC_OscInitStruct.HSIState = RCC_HSI_DIV1;
  RCC_OscInitStruct.HSICalibrationValue = RCC_HSICALIBRATION_DEFAULT;
  RCC_OscInitStruct.PLL.PLLState = RCC_PLL_ON;
  RCC_OscInitStruct.PLL.PLLSource = RCC_PLLSOURCE_HSI;
  RCC_OscInitStruct.PLL.PLLM = 4;
  RCC_OscInitStruct.PLL.PLLN = 30;
  RCC_OscInitStruct.PLL.PLLP = 2;
  RCC_OscInitStruct.PLL.PLLQ = 4;
  RCC_OscInitStruct.PLL.PLLR = 2;
  RCC_OscInitStruct.PLL.PLLRGE = RCC_PLL1VCIRANGE_3;
  RCC_OscInitStruct.PLL.PLLVCOSEL = RCC_PLL1VCOWIDE;
  RCC_OscInitStruct.PLL.PLLFRACN = 0;
  if (HAL_RCC_OscConfig(&RCC_OscInitStruct) != HAL_OK)
  {
    Error_Handler();
  }

  /** Initializes the CPU, AHB and APB buses clocks
  */
  RCC_ClkInitStruct.ClockType = RCC_CLOCKTYPE_HCLK|RCC_CLOCKTYPE_SYSCLK
                              |RCC_CLOCKTYPE_PCLK1|RCC_CLOCKTYPE_PCLK2
                              |RCC_CLOCKTYPE_D3PCLK1|RCC_CLOCKTYPE_D1PCLK1;
  RCC_ClkInitStruct.SYSCLKSource = RCC_SYSCLKSOURCE_PLLCLK;
  RCC_ClkInitStruct.SYSCLKDivider = RCC_SYSCLK_DIV1;
  RCC_ClkInitStruct.AHBCLKDivider = RCC_HCLK_DIV1;
  RCC_ClkInitStruct.APB3CLKDivider = RCC_APB3_DIV2;
  RCC_ClkInitStruct.APB1CLKDivider = RCC_APB1_DIV2;
  RCC_ClkInitStruct.APB2CLKDivider = RCC_APB2_DIV2;
  RCC_ClkInitStruct.APB4CLKDivider = RCC_APB4_DIV2;

  if (HAL_RCC_ClockConfig(&RCC_ClkInitStruct, FLASH_LATENCY_4) != HAL_OK)
  {
    Error_Handler();
  }
}

static void MX_ADC3_Init(void)
{

  LL_ADC_InitTypeDef ADC_InitStruct = {0};
  LL_ADC_REG_InitTypeDef ADC_REG_InitStruct = {0};
  LL_ADC_CommonInitTypeDef ADC_CommonInitStruct = {0};

  RCC_PeriphCLKInitTypeDef PeriphClkInitStruct = {0};

  /** Initializes the peripherals clock
  */
  PeriphClkInitStruct.PeriphClockSelection = RCC_PERIPHCLK_ADC;
  PeriphClkInitStruct.PLL3.PLL3M = 4;
  PeriphClkInitStruct.PLL3.PLL3N = 31;
  PeriphClkInitStruct.PLL3.PLL3P = 5;
  PeriphClkInitStruct.PLL3.PLL3Q = 4;
  PeriphClkInitStruct.PLL3.PLL3R = 5;
  PeriphClkInitStruct.PLL3.PLL3RGE = RCC_PLL3VCIRANGE_3;
  PeriphClkInitStruct.PLL3.PLL3VCOSEL = RCC_PLL3VCOWIDE;
  PeriphClkInitStruct.PLL3.PLL3FRACN = 0;
  PeriphClkInitStruct.AdcClockSelection = RCC_ADCCLKSOURCE_PLL3;
  if (HAL_RCCEx_PeriphCLKConfig(&PeriphClkInitStruct) != HAL_OK)
  {
    Error_Handler();
  }

  /* Peripheral clock enable */
  LL_AHB4_GRP1_EnableClock(LL_AHB4_GRP1_PERIPH_ADC3);

  LL_AHB4_GRP1_EnableClock(LL_AHB4_GRP1_PERIPH_GPIOC);
  /**ADC3 GPIO Configuration
  PC3_C   ------> ADC3_INP1
  */
  LL_SYSCFG_OpenAnalogSwitch(LL_SYSCFG_ANALOG_SWITCH_PC3);

  /* ADC3 interrupt Init */
  NVIC_SetPriority(ADC3_IRQn, NVIC_EncodePriority(NVIC_GetPriorityGrouping(),7, 0));
  NVIC_EnableIRQ(ADC3_IRQn);

  /** Common config
  */
  LL_ADC_SetOverSamplingScope(ADC3, LL_ADC_OVS_GRP_REGULAR_CONTINUED);
  LL_ADC_ConfigOverSamplingRatioShift(ADC3, 256, LL_ADC_OVS_SHIFT_RIGHT_8);
  LL_ADC_SetOverSamplingDiscont(ADC3, LL_ADC_OVS_REG_CONT);
  ADC_InitStruct.Resolution = LL_ADC_RESOLUTION_16B;
  ADC_InitStruct.LowPowerMode = LL_ADC_LP_MODE_NONE;
  ADC_InitStruct.LeftBitShift = LL_ADC_LEFT_BIT_SHIFT_NONE;
  LL_ADC_Init(ADC3, &ADC_InitStruct);
  ADC_REG_InitStruct.TriggerSource = LL_ADC_REG_TRIG_EXT_TIM3_TRGO;
  ADC_REG_InitStruct.SequencerLength = LL_ADC_REG_SEQ_SCAN_DISABLE;
  ADC_REG_InitStruct.SequencerDiscont = DISABLE;
  ADC_REG_InitStruct.ContinuousMode = LL_ADC_REG_CONV_SINGLE;
  ADC_REG_InitStruct.Overrun = LL_ADC_REG_OVR_DATA_PRESERVED;
  LL_ADC_REG_Init(ADC3, &ADC_REG_InitStruct);
  LL_ADC_REG_SetDataTransferMode(ADC3, LL_ADC_REG_DR_TRANSFER);
  ADC_CommonInitStruct.Multimode = LL_ADC_MULTI_INDEPENDENT;
  LL_ADC_CommonInit(__LL_ADC_COMMON_INSTANCE(ADC3), &ADC_CommonInitStruct);
  LL_ADC_REG_SetTriggerEdge(ADC3, LL_ADC_REG_TRIG_EXT_RISING);

  /* Disable ADC deep power down (enabled by default after reset state) */
  LL_ADC_DisableDeepPowerDown(ADC3);
  /* Enable ADC internal voltage regulator */
  LL_ADC_EnableInternalRegulator(ADC3);
  /* Delay for ADC internal voltage regulator stabilization. */
  /* Compute number of CPU cycles to wait for, from delay in us. */
  /* Note: Variable divided by 2 to compensate partially */
  /* CPU processing cycles (depends on compilation optimization). */
  /* Note: If system core clock frequency is below 200kHz, wait time */
  /* is only a few CPU processing cycles. */
  __IO uint32_t wait_loop_index;
  wait_loop_index = ((LL_ADC_DELAY_INTERNAL_REGUL_STAB_US * (SystemCoreClock / (100000 * 2))) / 10);
  while(wait_loop_index != 0)
  {
    wait_loop_index--;
  }

  /** Configure Regular Channel
  */
  LL_ADC_REG_SetSequencerRanks(ADC3, LL_ADC_REG_RANK_1, LL_ADC_CHANNEL_1);
  LL_ADC_SetChannelSamplingTime(ADC3, LL_ADC_CHANNEL_1, LL_ADC_SAMPLINGTIME_1CYCLE_5);
  LL_ADC_SetChannelSingleDiff(ADC3, LL_ADC_CHANNEL_1, LL_ADC_SINGLE_ENDED);
  /* USER CODE BEGIN ADC3_Init 2 */

  // override MX generated sampling time:
  LL_ADC_SetChannelSamplingTime(ADC3, LL_ADC_CHANNEL_1, LL_ADC_SAMPLINGTIME_8CYCLES_5);

  LL_ADC_StartCalibration(ADC3, LL_ADC_CALIB_OFFSET_LINEARITY, LL_ADC_SINGLE_ENDED);

  // Wait for calibration to finish
  while (LL_ADC_IsCalibrationOnGoing(ADC3)) {
      // Wait
  }

  /* USER CODE END ADC3_Init 2 */

}

static void MX_DAC1_Init(void)
{

  DAC_ChannelConfTypeDef sConfig = {0};

  /** DAC Initialization
  */
  hdac1.Instance = DAC1;
  if (HAL_DAC_Init(&hdac1) != HAL_OK)
  {
    Error_Handler();
  }

  /** DAC channel OUT1 config
  */
  sConfig.DAC_SampleAndHold = DAC_SAMPLEANDHOLD_DISABLE;
  sConfig.DAC_Trigger = DAC_TRIGGER_NONE;
  sConfig.DAC_OutputBuffer = DAC_OUTPUTBUFFER_ENABLE;
  sConfig.DAC_ConnectOnChipPeripheral = DAC_CHIPCONNECT_DISABLE;
  sConfig.DAC_UserTrimming = DAC_TRIMMING_FACTORY;
  if (HAL_DAC_ConfigChannel(&hdac1, &sConfig, DAC_CHANNEL_1) != HAL_OK)
  {
    Error_Handler();
  }

}

static void MX_TIM2_Init(void)
{

  TIM_ClockConfigTypeDef sClockSourceConfig = {0};
  TIM_MasterConfigTypeDef sMasterConfig = {0};

  htim2.Instance = TIM2;
  htim2.Init.Prescaler = 0;
  htim2.Init.CounterMode = TIM_COUNTERMODE_UP;
  htim2.Init.Period = 240000-1;
  htim2.Init.ClockDivision = TIM_CLOCKDIVISION_DIV1;
  htim2.Init.AutoReloadPreload = TIM_AUTORELOAD_PRELOAD_DISABLE;
  if (HAL_TIM_Base_Init(&htim2) != HAL_OK)
  {
    Error_Handler();
  }
  sClockSourceConfig.ClockSource = TIM_CLOCKSOURCE_INTERNAL;
  if (HAL_TIM_ConfigClockSource(&htim2, &sClockSourceConfig) != HAL_OK)
  {
    Error_Handler();
  }
  sMasterConfig.MasterOutputTrigger = TIM_TRGO_RESET;
  sMasterConfig.MasterSlaveMode = TIM_MASTERSLAVEMODE_DISABLE;
  if (HAL_TIMEx_MasterConfigSynchronization(&htim2, &sMasterConfig) != HAL_OK)
  {
    Error_Handler();
  }

}

static void MX_TIM3_Init(void)
{

  LL_TIM_InitTypeDef TIM_InitStruct = {0};
  LL_TIM_OC_InitTypeDef TIM_OC_InitStruct = {0};

  LL_GPIO_InitTypeDef GPIO_InitStruct = {0};

  /* Peripheral clock enable */
  LL_APB1_GRP1_EnableClock(LL_APB1_GRP1_PERIPH_TIM3);

  LL_AHB4_GRP1_EnableClock(LL_AHB4_GRP1_PERIPH_GPIOB);
  /**TIM3 GPIO Configuration
  PB1   ------> TIM3_CH4
  */
  GPIO_InitStruct.Pin = LL_GPIO_PIN_1;
  GPIO_InitStruct.Mode = LL_GPIO_MODE_ALTERNATE;
  GPIO_InitStruct.Speed = LL_GPIO_SPEED_FREQ_LOW;
  GPIO_InitStruct.OutputType = LL_GPIO_OUTPUT_PUSHPULL;
  GPIO_InitStruct.Pull = LL_GPIO_PULL_NO;
  GPIO_InitStruct.Alternate = LL_GPIO_AF_2;
  LL_GPIO_Init(GPIOB, &GPIO_InitStruct);

  /* TIM3 interrupt Init */
  NVIC_SetPriority(TIM3_IRQn, NVIC_EncodePriority(NVIC_GetPriorityGrouping(),0, 0));
  NVIC_EnableIRQ(TIM3_IRQn);

  TIM_InitStruct.Prescaler = 0;
  TIM_InitStruct.CounterMode = LL_TIM_COUNTERMODE_UP;
  TIM_InitStruct.Autoreload = 16384-1;
  TIM_InitStruct.ClockDivision = LL_TIM_CLOCKDIVISION_DIV1;
  LL_TIM_Init(TIM3, &TIM_InitStruct);
  LL_TIM_EnableARRPreload(TIM3);
  LL_TIM_OC_EnablePreload(TIM3, LL_TIM_CHANNEL_CH3);
  TIM_OC_InitStruct.OCMode = LL_TIM_OCMODE_PWM1;
  TIM_OC_InitStruct.OCState = LL_TIM_OCSTATE_ENABLE;
  TIM_OC_InitStruct.OCNState = LL_TIM_OCSTATE_DISABLE;
  TIM_OC_InitStruct.CompareValue = 0;
  TIM_OC_InitStruct.OCPolarity = LL_TIM_OCPOLARITY_HIGH;
  LL_TIM_OC_Init(TIM3, LL_TIM_CHANNEL_CH3, &TIM_OC_InitStruct);
  LL_TIM_OC_DisableFast(TIM3, LL_TIM_CHANNEL_CH3);
  LL_TIM_SetTriggerOutput(TIM3, LL_TIM_TRGO_UPDATE);
  LL_TIM_DisableMasterSlaveMode(TIM3);
  LL_AHB4_GRP1_EnableClock(LL_AHB4_GRP1_PERIPH_GPIOC);
  /**TIM3 GPIO Configuration
  PC8   ------> TIM3_CH3
  */
  GPIO_InitStruct.Pin = LL_GPIO_PIN_8;
  GPIO_InitStruct.Mode = LL_GPIO_MODE_ALTERNATE;
  GPIO_InitStruct.Speed = LL_GPIO_SPEED_FREQ_HIGH;
  GPIO_InitStruct.OutputType = LL_GPIO_OUTPUT_PUSHPULL;
  GPIO_InitStruct.Pull = LL_GPIO_PULL_NO;
  GPIO_InitStruct.Alternate = LL_GPIO_AF_2;
  LL_GPIO_Init(GPIOC, &GPIO_InitStruct);

}

static void MX_USART3_UART_Init(void)
{

  huart3.Instance = USART3;
  huart3.Init.BaudRate = 115200;
  huart3.Init.WordLength = UART_WORDLENGTH_8B;
  huart3.Init.StopBits = UART_STOPBITS_1;
  huart3.Init.Parity = UART_PARITY_NONE;
  huart3.Init.Mode = UART_MODE_TX_RX;
  huart3.Init.HwFlowCtl = UART_HWCONTROL_NONE;
  huart3.Init.OverSampling = UART_OVERSAMPLING_16;
  huart3.Init.OneBitSampling = UART_ONE_BIT_SAMPLE_DISABLE;
  huart3.Init.ClockPrescaler = UART_PRESCALER_DIV1;
  huart3.AdvancedInit.AdvFeatureInit = UART_ADVFEATURE_NO_INIT;
  if (HAL_UART_Init(&huart3) != HAL_OK)
  {
    Error_Handler();
  }
  if (HAL_UARTEx_SetTxFifoThreshold(&huart3, UART_TXFIFO_THRESHOLD_1_8) != HAL_OK)
  {
    Error_Handler();
  }
  if (HAL_UARTEx_SetRxFifoThreshold(&huart3, UART_RXFIFO_THRESHOLD_1_8) != HAL_OK)
  {
    Error_Handler();
  }
  if (HAL_UARTEx_DisableFifoMode(&huart3) != HAL_OK)
  {
    Error_Handler();
  }

}

static void MX_GPIO_Init(void)
{
  GPIO_InitTypeDef GPIO_InitStruct = {0};

  /* GPIO Ports Clock Enable */
  __HAL_RCC_GPIOC_CLK_ENABLE();
  __HAL_RCC_GPIOH_CLK_ENABLE();
  __HAL_RCC_GPIOA_CLK_ENABLE();
  __HAL_RCC_GPIOB_CLK_ENABLE();
  __HAL_RCC_GPIOD_CLK_ENABLE();
  __HAL_RCC_GPIOG_CLK_ENABLE();
  __HAL_RCC_GPIOE_CLK_ENABLE();

  /*Configure GPIO pin Output Level */
  HAL_GPIO_WritePin(GPIOB, LD1_Pin|LD3_Pin, GPIO_PIN_RESET);

  /*Configure GPIO pin Output Level */
  HAL_GPIO_WritePin(PH_GPIO_Port, PH_Pin, GPIO_PIN_RESET);

  /*Configure GPIO pin Output Level */
  HAL_GPIO_WritePin(LD2_GPIO_Port, LD2_Pin, GPIO_PIN_RESET);

  /*Configure GPIO pins : LD1_Pin LD3_Pin */
  GPIO_InitStruct.Pin = LD1_Pin|LD3_Pin;
  GPIO_InitStruct.Mode = GPIO_MODE_OUTPUT_PP;
  GPIO_InitStruct.Pull = GPIO_NOPULL;
  GPIO_InitStruct.Speed = GPIO_SPEED_FREQ_LOW;
  HAL_GPIO_Init(GPIOB, &GPIO_InitStruct);

  /*Configure GPIO pin : PH_Pin */
  GPIO_InitStruct.Pin = PH_Pin;
  GPIO_InitStruct.Mode = GPIO_MODE_OUTPUT_PP;
  GPIO_InitStruct.Pull = GPIO_NOPULL;
  GPIO_InitStruct.Speed = GPIO_SPEED_FREQ_MEDIUM;
  HAL_GPIO_Init(PH_GPIO_Port, &GPIO_InitStruct);

  /*Configure GPIO pin : PB5 */
  GPIO_InitStruct.Pin = GPIO_PIN_5;
  GPIO_InitStruct.Mode = GPIO_MODE_AF_PP;
  GPIO_InitStruct.Pull = GPIO_NOPULL;
  GPIO_InitStruct.Speed = GPIO_SPEED_FREQ_LOW;
  GPIO_InitStruct.Alternate = GPIO_AF5_SPI1;
  HAL_GPIO_Init(GPIOB, &GPIO_InitStruct);

  /*Configure GPIO pin : LD2_Pin */
  GPIO_InitStruct.Pin = LD2_Pin;
  GPIO_InitStruct.Mode = GPIO_MODE_OUTPUT_PP;
  GPIO_InitStruct.Pull = GPIO_NOPULL;
  GPIO_InitStruct.Speed = GPIO_SPEED_FREQ_LOW;
  HAL_GPIO_Init(LD2_GPIO_Port, &GPIO_InitStruct);

}

/* USER CODE BEGIN 4 */

void udp_receive_callback(void *arg, // User argument - udp_recv `arg` parameter
		struct udp_pcb *upcb,   // Receiving Protocol Control Block
		struct pbuf *p,         // Pointer to Datagram
		const ip_addr_t *addr,  // Address of sender
		u16_t port) {

	char msg[100] = {0};

	command_t out_cmd;

	start = sys_time();
	/* Process the data */
	uint16_t udp_size = p->len;
	if(udp_size != UDP_LENGTH){
		sprintf(msg, "Buffer size incorrect. Received %d, expected %d\r\n", udp_size, UDP_LENGTH);
		print_uart3(msg);
		return;
	}

	/* Clear the SPI buffers of old values */
	memset(cmd_buffer,0,CMD_BUFFER_SIZE_BYTES);

	/* Parse the values */
	deserialize_command(p->payload, &out_cmd);

	/* Verify end bytes as data corruption check */
	if(out_cmd.end != 0XDEAD){
		sprintf(msg,"End bytes don't match 0X%X != 0XDEAD \r\n", out_cmd.end);
		print_uart3(msg);
		return;
	}

	for(int i=0; i<NUM_CHANNELS;i++){
		cmds[i] = out_cmd.frame[i].value;
	}

	// signal main that command data is ready
	cmds_received = 1;
	end = sys_time();
	pbuf_free(p);
}

void deserialize_command(const uint8_t *buffer, command_t *out_cmd) {
    const uint8_t *ptr = buffer;

    /* Protocol version */
    out_cmd->version = *ptr++;

    /* Timestamp (seconds, nanoseconds, 8 bytes)--provide a timing mark and ID for the host */
    uint32_t ts_net_sec;
    memcpy(&ts_net_sec, ptr, sizeof(ts_net_sec));
    out_cmd->seconds = ntohl(ts_net_sec); // Network to Host Long
    ptr += sizeof(ts_net_sec);

    uint32_t ts_net_nsec;
    memcpy(&ts_net_nsec, ptr, sizeof(ts_net_nsec));
    out_cmd->nanoseconds = ntohl(ts_net_nsec); // Network to Host Long
    ptr += sizeof(ts_net_nsec);

    /* Frames--data */
    for (int i = 0; i < NUM_CHANNELS; i++) {
        out_cmd->frame[i].address = *ptr++;

        uint16_t data_net;
        memcpy(&data_net, ptr, 2);
        out_cmd->frame[i].value = ntohs(data_net); // Network to Host Short
        ptr += 2;
    }

    /* End bytes--signal EOM */
    uint16_t end_net;
    memcpy(&end_net, ptr, 2);
    out_cmd->end = ntohs(end_net);
    ptr+=2;

//    char msg[100] = {0};
//    sprintf(msg, "Protocol version %d\r\n", out_cmd->version);
//    print_uart3(msg);
//    sprintf(msg, "Timestamp.sec = %lu\r\n", out_cmd->seconds);
//    print_uart3(msg);
//    sprintf(msg, "Timestamp.nsec = %09lu\r\n", out_cmd->nanoseconds);
//    print_uart3(msg);
//
//    for (int i = 0; i < NUM_CHANNELS; i++) {
//        sprintf(msg, "cmd: = %d\r\n", out_cmd->frame[i].value);
//        print_uart3(msg);
//
//    }
//    sprintf(msg, "End bytes = %d\r\n", out_cmd->end);
//    print_uart3(msg);

}

static void init_controller(void){

	/* set PWM output to zero duty cycle */
	LL_TIM_OC_SetCompareCH3(TIM3, 0);

	/* reset history variables */
	e1 = 0.0f;
	e2 = 0.0f;
	e3 = 0.0f;

	u1 = 0.0f;
	u2 = 0.0f;
	u3 = 0.0f;
}

void update_controller(void) {

	int duty_cycle = 0;

	/* Error state variable */
	float e0 = 0.0f;

	/* Output state variable */
	float u0 = 0.0f;

	/* compute new output */
	e0 = (float)v_ref - (float)v_sense; //new error term
	u0 = b0*e0 + b1*e1 + b2*e2 + b3*e3 - a1*u1 - a2*u2 - a3*u3; // new output term

	float mag_float = fabsf(u0);
	duty_cycle = mag_float;
	/* clamp output to [0 CMD_LIMIT]*/
	if(duty_cycle > CMD_LIMIT){
		duty_cycle = CMD_LIMIT;
		// how to reset integral windup?
	}

	/* set duty cycle */
	LL_TIM_OC_SetCompareCH3(TIM3, duty_cycle);
	/* set phase output pin */
	if (u0 >= 0) {
		LL_GPIO_ResetOutputPin(GPIOC, LL_GPIO_PIN_9);
	} else {
		LL_GPIO_SetOutputPin(GPIOC, LL_GPIO_PIN_9);
	}

	/* update state variables */
	e3 = e2;
	e2 = e1;
	e1 = e0;

	u3 = u2;
	u2 = u1;
	u1 = u0;

}

uint32_t sys_time(void) {
	uint32_t current = sys_time_ms * 1000 + (TIM2->CNT) / 240;
	return (current); // current time in microseconds

}

/* USER CODE END 4 */

 /* MPU Configuration */

void MPU_Config(void)
{
  MPU_Region_InitTypeDef MPU_InitStruct = {0};

  /* Disables the MPU */
  HAL_MPU_Disable();

  /** Initializes and configures the Region and the memory to be protected
  */
  MPU_InitStruct.Enable = MPU_REGION_ENABLE;
  MPU_InitStruct.Number = MPU_REGION_NUMBER0;
  MPU_InitStruct.BaseAddress = 0x0;
  MPU_InitStruct.Size = MPU_REGION_SIZE_4GB;
  MPU_InitStruct.SubRegionDisable = 0x87;
  MPU_InitStruct.TypeExtField = MPU_TEX_LEVEL0;
  MPU_InitStruct.AccessPermission = MPU_REGION_NO_ACCESS;
  MPU_InitStruct.DisableExec = MPU_INSTRUCTION_ACCESS_DISABLE;
  MPU_InitStruct.IsShareable = MPU_ACCESS_SHAREABLE;
  MPU_InitStruct.IsCacheable = MPU_ACCESS_NOT_CACHEABLE;
  MPU_InitStruct.IsBufferable = MPU_ACCESS_NOT_BUFFERABLE;

  HAL_MPU_ConfigRegion(&MPU_InitStruct);

  /** Initializes and configures the Region and the memory to be protected
  */
  MPU_InitStruct.Number = MPU_REGION_NUMBER1;
  MPU_InitStruct.BaseAddress = 0x30020000;
  MPU_InitStruct.Size = MPU_REGION_SIZE_128KB;
  MPU_InitStruct.SubRegionDisable = 0x0;
  MPU_InitStruct.TypeExtField = MPU_TEX_LEVEL1;
  MPU_InitStruct.AccessPermission = MPU_REGION_FULL_ACCESS;
  MPU_InitStruct.IsShareable = MPU_ACCESS_NOT_SHAREABLE;

  HAL_MPU_ConfigRegion(&MPU_InitStruct);

  /** Initializes and configures the Region and the memory to be protected
  */
  MPU_InitStruct.Number = MPU_REGION_NUMBER2;
  MPU_InitStruct.BaseAddress = 0x30040000;
  MPU_InitStruct.Size = MPU_REGION_SIZE_512B;
  MPU_InitStruct.TypeExtField = MPU_TEX_LEVEL0;
  MPU_InitStruct.IsShareable = MPU_ACCESS_SHAREABLE;
  MPU_InitStruct.IsBufferable = MPU_ACCESS_BUFFERABLE;

  HAL_MPU_ConfigRegion(&MPU_InitStruct);
  /* Enables the MPU */
  HAL_MPU_Enable(MPU_PRIVILEGED_DEFAULT);

}

void HAL_TIM_PeriodElapsedCallback(TIM_HandleTypeDef *htim)
{
  if (htim->Instance == TIM6)
  {
    HAL_IncTick();
  }
}

void Error_Handler(void)
{
  __disable_irq();
  while (1)
  {
  }
}
